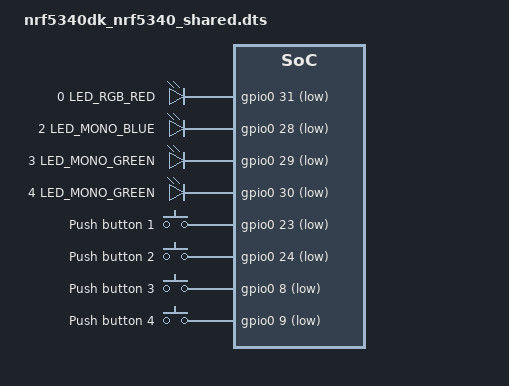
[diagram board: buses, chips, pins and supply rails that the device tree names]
/ {
	leds:	leds {
		compatible = "gpio-leds";
		rgb1_red: led_0 {
			gpios = <&gpio0 31 GPIO_ACTIVE_LOW>; //rgb1_red_audio_dk -> gpio0.7, led4_std_dk -> gpio0.31
			label = "0 LED_RGB_RED";
		};
		led1_blue: led_6 {
			gpios = <&gpio0 28 GPIO_ACTIVE_LOW>; // led1_audio_dk -> gpio0.31, led1_std_dk -> gpio0.28
			label = "2 LED_MONO_BLUE";
		};
		led2_green: led_7 {
			gpios = <&gpio0 29 GPIO_ACTIVE_LOW>; // led2_audio_dk -> gpio1.0, led2_std_dk -> gpio0.29
			label = "3 LED_MONO_GREEN";
		};
		led3_green: led_8 {
			gpios = <&gpio0 30 GPIO_ACTIVE_LOW>; // led3_audio_dk -> gpio1.1, led3_std_dk -> gpio0.30
			label = "4 LED_MONO_GREEN";
		};

	};
	buttons {
		compatible = "gpio-keys";
		button_1_vol_dn: button_1_vol_dn {
			gpios = <&gpio0 23 (GPIO_PULL_UP | GPIO_ACTIVE_LOW)>; // vol-_audio_dk -> gpio0.2
			label = "Push button 1";
		};
		button_2_vol_up: button_2_vol_up {
			gpios = <&gpio0 24 (GPIO_PULL_UP | GPIO_ACTIVE_LOW)>; // vol+_audio_dk -> gpio0.3
			label = "Push button 2";
		};
		button3: button_3 {
			gpios = <&gpio0 8 (GPIO_PULL_UP | GPIO_ACTIVE_LOW)>; //playpause_audio_dk -> gpio0.4
			label = "Push button 3";
		};
		button4: button_4 {
			gpios = <&gpio0 9 (GPIO_PULL_UP | GPIO_ACTIVE_LOW)>; //btn4_audio_dk -> gpio0.6
			label = "Push button 4";
		};
	};


	aliases {
		led0 = &rgb1_red;
		//led1 = &rgb1_green;
		//led2 = &rgb1_blue;
		//led3 = &rgb2_red;
		//led4 = &rgb2_green;
		//led5 = &rgb2_blue;
		led6 = &led1_blue;
		led7 = &led2_green;
		led8 = &led3_green;
		sw0 = &button_1_vol_dn;
		sw1 = &button_2_vol_up;
		sw2 = &button3;
		sw3 = &button4;
		//sw4 = &button5;
		mcuboot-led0 = &led1_blue;
		mcuboot-button0 = &button3;
	};
};
